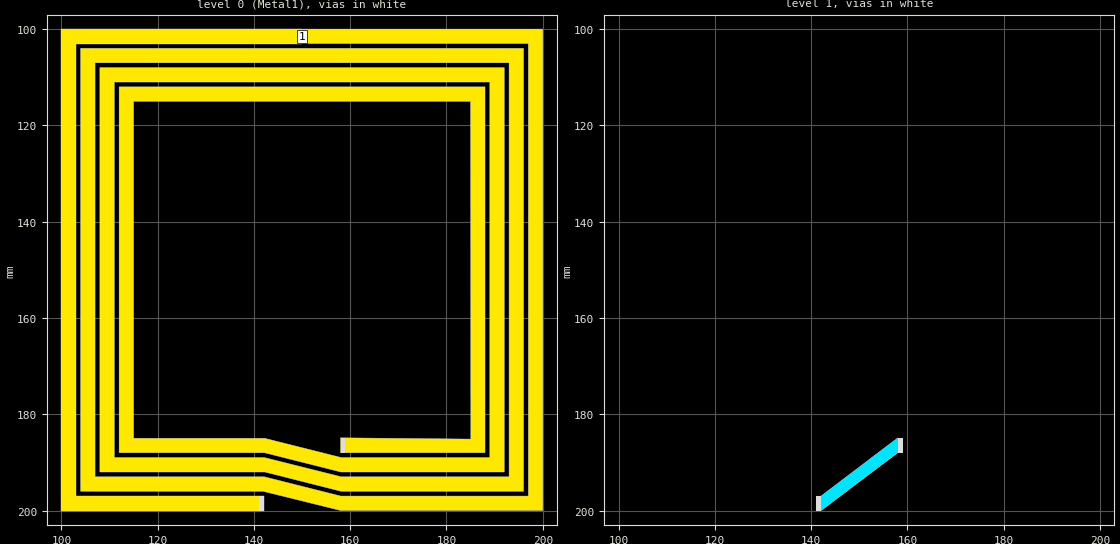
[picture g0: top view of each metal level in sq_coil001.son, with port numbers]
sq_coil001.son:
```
FTYP SONPROJ 19 ! Sonnet Project File
VER 18.53
HEADER
LIC SL638db93e
DAT 12/10/2022 15:34:30
BUILT_BY_CREATED xgeom 18.53-Lite 12/10/2022 14:39:05
BUILT_BY_SAVED sonnet 18.53-Lite
MDATE 12/10/2022 15:07:21
HDATE 12/10/2022 15:07:21
END HEADER
DIM
ANG DEG
CAP PF
CON /OH
FREQ GHZ
IND NH
LNG MM
RES OH
END DIM
CONTROL
VARSWP
OPTIONS  -d
SPEED 0
CACHE_ABS 2
Q_ACC N
END CONTROL
GEO
TMET "Lossless" 0 SUP 0 0 0 0
BMET "Lossless" 0 SUP 0 0 0 0
BOX 2 300 300 600 600 20 0
      300 1 1 0 0 0 0 "Air"
      1.6 4.4 1 0.02 0 0 0 "FR4"
      300 1 1 0 0 0 0 "AIR"
TECHLAY METAL Metal1 <UNSPECIFIED> -2 -65534 
0 0 -1 N 83 1 1 100 100 0 0 0 Y
END
END
LORGN 0 6.35 U 
POR1 GAP
POLY 74 1
3
1 50 0 0 0 150 101.5 
NUM 7
0 45 -1 N 73 1 1 100 100 0 0 0 Y
TLAYNAM Metal1 INH
200 100
150 100
150 103
197 103
197 197
158.0277378 197
142.1624125 193
107 193
107 107
193 107
193 193
158.1414677 193
142.1624125 189
111 189
111 111
189 111
189 189
158.1414677 189
142.2192775 185
115 185
115 115
185 115
185.0559248 185.1662128
158 184.8998802
158 188
188 188
188 112
112 112
112 188
142.2192775 188
158.0846027 192
192 192
192 108
108 108
108 192
142.2761424 192
158.0846027 196
196 196
196 104
104 104
104 196
141.8780877 196
158.0277378 200
200 200
200 100
END
0 9 -1 N 74 1 1 100 100 0 0 0 Y
TLAYNAM Metal1 INH
142.0486826 197
103 197
103 103
150 103
150 100
100 100
100 200
142.1055476 200
142.0486826 197
END
VIA POLYGON
0 5 -1 N 62 1 1 100 100 0 0 0 Y
TOLEVEL 1 RING NOCOVERS
158 185
159 185
159 188
158 188
158 185
END
VIA POLYGON
0 5 -1 N 63 1 1 100 100 0 0 0 Y
TOLEVEL 1 RING NOCOVERS
141 197
142.1055476 197
142.1055476 200
141 200
141 197
END
1 5 -1 N 61 1 1 100 100 0 0 0 Y
158 184.8998802
142.0486826 197
142.1055476 200
158 188
158 184.8998802
END
1 5 -1 N 64 1 1 100 100 0 0 0 Y
141 197
142 197
142 200
141 200
141 197
END
1 5 -1 N 65 1 1 100 100 0 0 0 Y
158 185
159 185
159 188
158 188
158 185
END
END GEO
OPT
MAX 100
END OPT
VARSWP
ENABLED Y
FREQ N AY ABS_ENTRY UNK 
FREQ N AN STEP 0.0135
FREQ Y AN SWEEP 0.013 0.014 0.001
END
END VARSWP
FILEOUT
TOUCH D Y $BASENAME.s1p IC 15 S RI R 50.00000
FOLDER .
END FILEOUT
```
